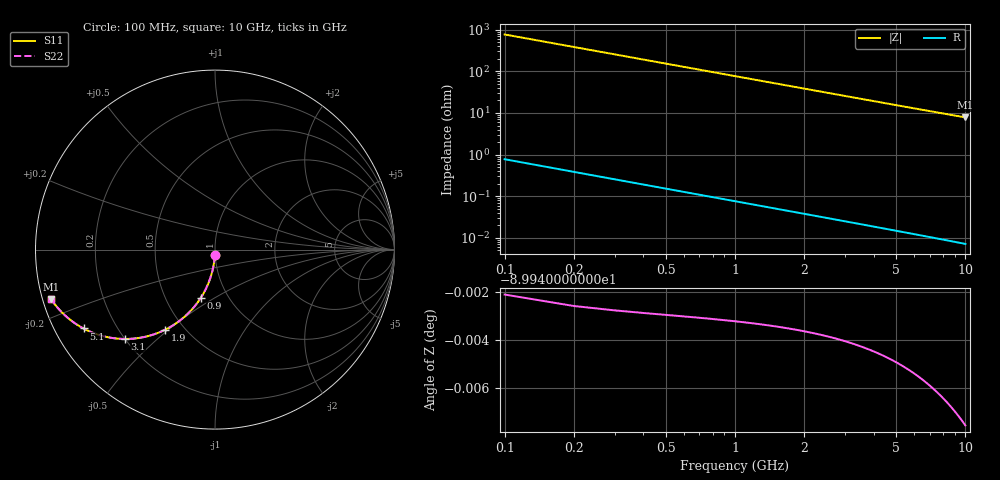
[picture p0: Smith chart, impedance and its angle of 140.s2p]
# Hz S RI R 50.00
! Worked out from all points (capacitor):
!   100 points, 100 MHz to 10 GHz, reference 50 ohm
!   read as one part in shunt: C = 2.07 pF near 100 MHz
!   lowest |Z| = 7.84 ohm at 10 GHz (marker M1)
!   S11 on the Smith chart (normalised r, x): 100 MHz: 1.00, -0.06; 900 MHz: 0.75, -0.43; 1.9 GHz: 0.40, -0.49; 3.1 GHz: 0.20, -0.40; 5.1 GHz: 0.08, -0.28; 10 GHz: 0.02, -0.15
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1e8  -0.00106 -0.0324  0.9989 -0.0325  0.9989 -0.0325  -0.00106 -0.0324
2e8  -0.00425 -0.0647  0.9957 -0.0649  0.9957 -0.0649  -0.00425 -0.0647
3e8  -0.0095 -0.0965  0.9905 -0.0968  0.9905 -0.0968  -0.0095 -0.0965
4e8  -0.0167 -0.1277  0.9832 -0.1281  0.9832 -0.1281  -0.0167 -0.1277
5e8  -0.0259 -0.1581  0.9741 -0.1586  0.9741 -0.1586  -0.0259 -0.1581
6e8  -0.0368 -0.1876  0.9631 -0.1882  0.9631 -0.1882  -0.0368 -0.1876
7e8  -0.0494 -0.2159  0.9505 -0.2167  0.9505 -0.2167  -0.0494 -0.2159
9e8  -0.0791 -0.2689  0.9209 -0.2699  0.9209 -0.2699  -0.0791 -0.2689
1.1e9  -0.1136 -0.3163  0.8863 -0.3174  0.8863 -0.3174  -0.1136 -0.3163
1.3e9  -0.1518 -0.3576  0.8482 -0.359  0.8482 -0.359  -0.1518 -0.3576
1.5e9  -0.1923 -0.3929  0.8076 -0.3944  0.8076 -0.3944  -0.1923 -0.3929
1.8e9  -0.2552 -0.4345  0.7448 -0.4364  0.7448 -0.4364  -0.2552 -0.4345
1.9e9  -0.2762 -0.4457  0.7237 -0.4476  0.7237 -0.4476  -0.2762 -0.4457
2.5e9  -0.3976 -0.4876  0.6023 -0.4902  0.6023 -0.4902  -0.3976 -0.4876
3.1e9  -0.5034 -0.4979  0.4965 -0.5011  0.4965 -0.5011  -0.5034 -0.4979
3.4e9  -0.5493 -0.4953  0.4506 -0.4988  0.4506 -0.4988  -0.5493 -0.4953
4.2e9  -0.6501 -0.4742  0.3498 -0.4786  0.3498 -0.4786  -0.6501 -0.4742
5.1e9  -0.7324 -0.4396  0.2676 -0.4448  0.2676 -0.4448  -0.7324 -0.4396
5.9e9  -0.7854 -0.407  0.2145 -0.4131  0.2145 -0.4131  -0.7854 -0.407
6.7e9  -0.825 -0.3759  0.1749 -0.3829  0.1749 -0.3829  -0.825 -0.3759
8.4e9  -0.881 -0.3188  0.1189 -0.3276  0.1189 -0.3276  -0.881 -0.3188
1e10  -0.913 -0.276  0.0869 -0.2865  0.0869 -0.2865  -0.913 -0.276
